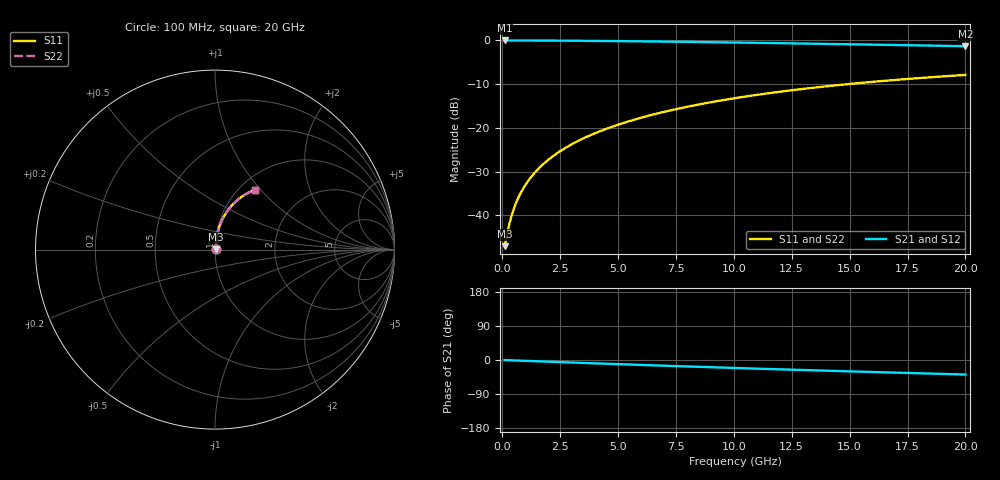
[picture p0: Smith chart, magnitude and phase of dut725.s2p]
! Touchstone file exported from HFSS 2024.1.0
!  File:  C:/UserFiles/LocalFiles/RDL_TSV_Batchsim/temp_RDL_bottom_725_1779858617.aedt
!  Generated:  01:12:56 PM May 27, 2026
!  Design:  RDL_bottom
!  Project:  temp_RDL_bottom_725_1779858617
!  Setup:  Setup1
!  Solution:  Sweep
! Variables:
!  dtsv = 10.80580581um
!  hbump = 3um
!  htsv = 64.3um
!  ldown = 505.68um
!  lrdl = 100um
!  p = 40
!  p1 = 47.96um
!  rhole = 1um
!  t = 450um
!  tdown = 2.96um
!  trdl = 3.915915916um
!  wdown = 16.67um
!  wrdl = 20um
# GHz S MA R 50.000000
! Terminal data exported
! Port[1] = RDL1_T1
! Port[2] = RDL1_T2
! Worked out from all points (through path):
!   200 points, 100 MHz to 20 GHz, reference 50 ohm
!   highest |S21| = -0.03 dB at 100 MHz (marker M1); lowest = -1.3 dB at 20 GHz (marker M2)
!   group delay of S21, straight-line fit = 5.3 ps
!   lowest |S11| = -47.1 dB at 100 MHz (marker M3), VSWR 1.01, Z = 50.4 + j0.231 ohm
!   |S11| at or under -10 dB: start of sweep to 14.96 GHz
!   |S22| runs from -47.1 to -7.9 dB; largest |S21 - S12| = 2.5e-15
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0.1  0.004437 31.1  0.9962 -0.2  0.9962 -0.2  0.004437 31.1
! Gamma 0 0 0 0
! Port Impedance 50 0 50 0
0.2  0.00599 49.5  0.9961 -0.5  0.9961 -0.5  0.00599 49.5
0.3  0.007878 59.3  0.996 -0.7  0.996 -0.7  0.007878 59.3
0.4  0.009878 65.1  0.9958 -0.9  0.9958 -0.9  0.009878 65.1
0.5  0.01192 68.8  0.9956 -1.1  0.9956 -1.1  0.01192 68.8
0.6  0.01397 71.4  0.9955 -1.4  0.9955 -1.4  0.01397 71.5
0.8  0.0181 74.9  0.9952 -1.8  0.9952 -1.8  0.0181 74.9
1.1  0.02434 77.9  0.9946 -2.5  0.9946 -2.5  0.02434 77.9
1.3  0.02854 79.1  0.9943 -2.9  0.9943 -2.9  0.02854 79.1
1.6  0.03487 80.3  0.9936 -3.6  0.9936 -3.6  0.03487 80.3
2.1  0.04551 81.4  0.9923 -4.7  0.9923 -4.7  0.04551 81.4
2.7  0.05838 81.8  0.9904 -6.0  0.9904 -6.0  0.05838 81.8
3.5  0.07568 81.7  0.9872 -7.8  0.9872 -7.8  0.07569 81.7
4.2  0.09094 81.2  0.9839 -9.3  0.9839 -9.3  0.09094 81.2
5  0.1085 80.4  0.9796 -11.0  0.9796 -11.0  0.1085 80.5
5.9  0.1282 79.3  0.9742 -12.8  0.9742 -12.8  0.1282 79.4
6.8  0.148 78.1  0.9682 -14.7  0.9682 -14.7  0.148 78.1
8.4  0.1829 75.6  0.9566 -17.9  0.9566 -17.9  0.183 75.6
10.1  0.2193 72.8  0.9432 -21.2  0.9432 -21.2  0.2194 72.8
13.4  0.2865 67.1  0.9154 -27.2  0.9154 -27.2  0.2866 67.1
16.7  0.3477 61.5  0.8862 -32.9  0.8862 -32.9  0.3479 61.5
20  0.4023 56.1  0.8566 -38.3  0.8566 -38.3  0.4024 56.2
